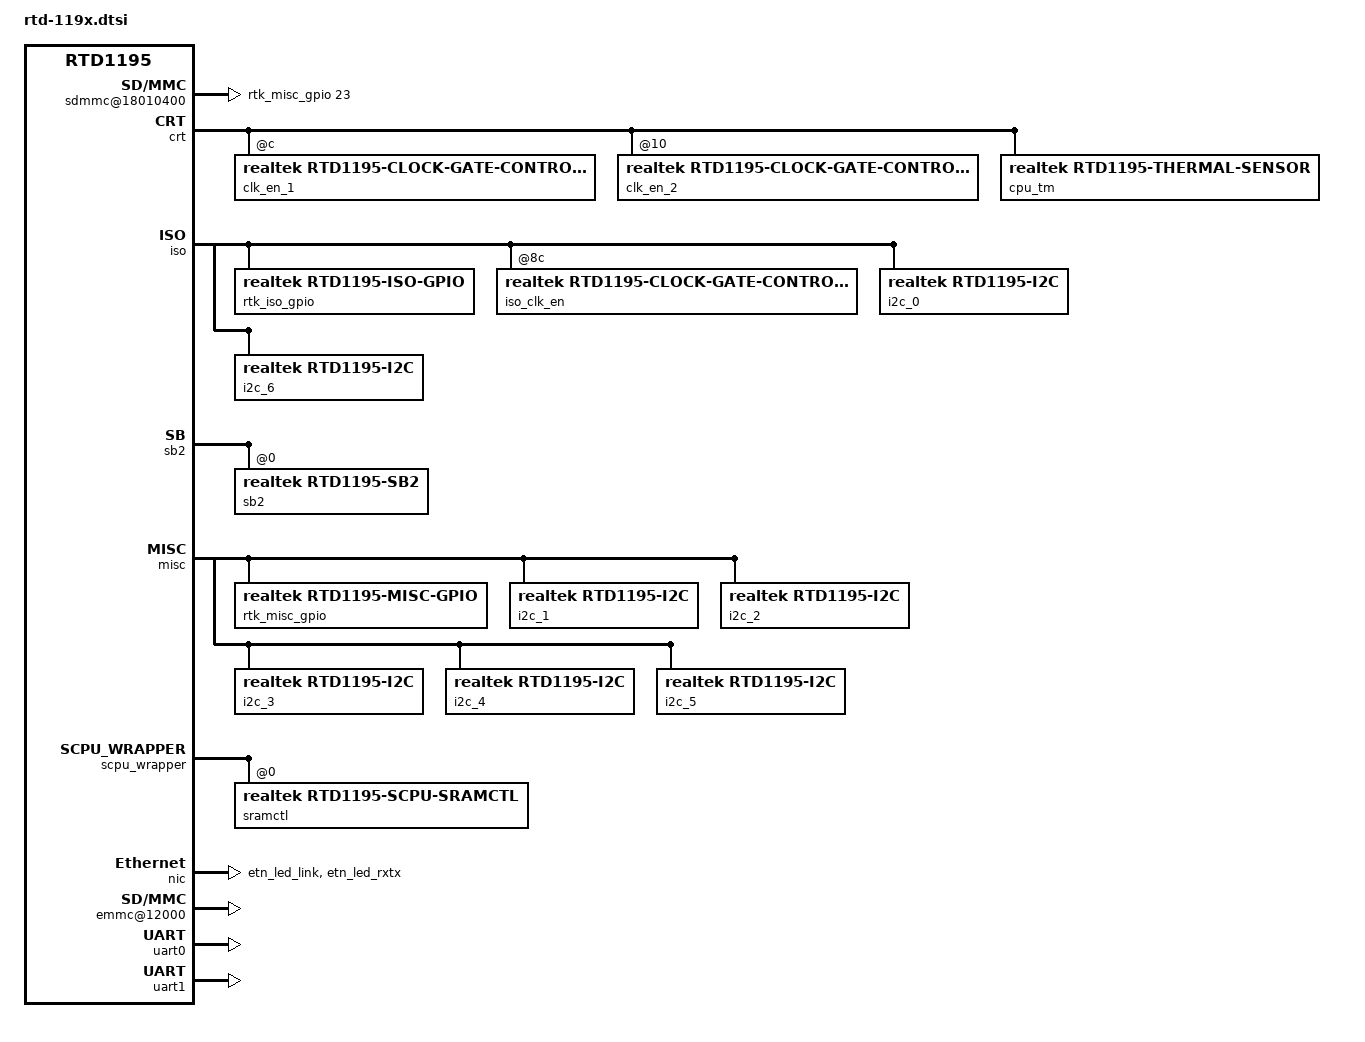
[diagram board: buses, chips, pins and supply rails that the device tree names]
#include <dt-bindings/interrupt-controller/arm-gic.h>
#include <dt-bindings/gpio/gpio.h>
#include <dt-bindings/clock/rtk,clock-rtd119x.h>
#include <dt-bindings/reset/realtek,rtd1195.h>

#include "../rtd1195.dtsi"

/ {
	/*
	 * UART1's baud reference. The clock controller does not model where
	 * this comes from, but the rate is not guesswork: the front-panel PIC
	 * runs at 19200 baud, the port programs a divisor of 1406, and
	 * 19200 * 16 * 1406 is 432MHz. A 27MHz reference would put the line
	 * at 1200 baud and the PIC would not answer at all.
	 */
	uart1_clk: uart1-clk {
		compatible = "fixed-clock";
		#clock-cells = <0>;
		clock-frequency = <432000000>;
		clock-output-names = "uart1_clk";
	};

	/*
	 * Still outside syscon@0: this claims the whole block from
	 * offset 0, where the reset controller already sits, so it needs
	 * converting to a syscon phandle and regmap before it can move.
	 */
	pinctrl_crt: pinctrl@18000000 {
		compatible = "realtek,rtd1195-crt-pinctrl";
		reg = <0x18000000 0x500>;

		pinctrl-names = "default";
		pinctrl-0 = <&i2c_pins_1>, <&i2c_pins_3>, <&i2c_pins_5>, <&mmc_pins>;

		emmc_pins: emmc-pins {
			pins = "nf_dd_0",
				"nf_dd_1",
				"nf_dd_2",
				"nf_dd_3",
				"nf_dd_4",
				"nf_dd_5",
				"nf_dd_6",
				"nf_dd_7",
				"nf_rdy",
				"nf_rd_n",
				"nf_cle";
			function = "emmc";
			bias-disable;
		};
		i2c_pins_1: i2c-1-pins {
			pins = "i2c_scl_1",
				"i2c_sda_1";
			function = "i2c1";
			bias-disable;
		};
		i2c_pins_2_crt: i2c-2-crt-pins {
			pins = "tp1_clk",
				"tp1_sync";
			function = "i2c2";
			bias-disable;
		};
		i2c_pins_3: i2c-3-pins {
			pins = "tp1_data",
				"tp1_valid";
			function = "i2c3";
			bias-disable;
		};
		i2c_pins_4: i2c-4-pins {
			pins = "i2c_scl_4",
				"i2c_sda_4";
			function = "i2c4";
			bias-disable;
		};
		i2c_pins_5: i2c-5-pins {
			pins = "i2c_scl_5",
				"i2c_sda_5";
			function = "i2c5";
			bias-disable;
		};
		mmc_pins: mmc-pins {
			pins = "mmc_data_0",
				"mmc_data_1",
				"mmc_data_2",
				"mmc_data_3",
				"mmc_clk",
				"mmc_cmd",
				"mmc_wp",
				"mmc_cd";
			function = "mmc";
			bias-disable;
		};
		sdio_pins: sdio-pins {
			pins = "sdio_clk",
				"sdio_data_0",
				"sdio_data_1",
				"sdio_data_2",
				"sdio_data_3",
				"sdio_cmd";
			function = "sdio";
			bias-disable;
		};
		uart1_pins_loc_misc_crt: uart1-loc-misc-crt-pins {
			pins = "gpio_0",
				"gpio_1",
				"gpio_2",
				"gpio_3",
				"sf_en";
			function = "uart1_loc_misc";
		};
		usb_pins: usb-pins {
			pins = "usb_id";
			function = "usb";
			bias-disable;
		};
	};

	/*
	 * Still outside syscon@0: this claims the whole block from
	 * offset 0, where the reset controller already sits, so it needs
	 * converting to a syscon phandle and regmap before it can move.
	 */
	cc: clock-controller@18000000 {
		compatible = "realtek,rtd1195-clock-controller";
		reg = <0x18000000 0x1000>;
		#clock-cells = <1>;

		/*
		 * The boot loader leaves the CPU PLL at 800 MHz. The stock
		 * firmware runs this part at 1100 MHz on the same default
		 * core voltage, but the PLL table has no 1100 MHz entry, so
		 * take the next one below it rather than the 1160 and 1200
		 * entries above what the vendor ships.
		 */
		assigned-clocks = <&cc CC_PLL_SCPU>;
		assigned-clock-rates = <1000000000>;
	};

	/*
	 * The unit address does not match reg[0], which is the CRT block, not
	 * this controller. Putting its own register first would fix that, but
	 * the driver indexes these by position and a single A/B showed SD init
	 * retrying afterwards. SD init is flaky enough that one run each
	 * proves nothing, so leave it until it can be measured properly.
	 */
	sdmmc@18010400 {
		compatible = "realtek,rtd1195-sdmmc";
		gpios = <&rtk_misc_gpio 23 GPIO_ACTIVE_HIGH>;
		reg = <0x18010400 0x200>,	/* the controller itself */
		      <0x18000000 0x400>,	/* CRT: PLL and pad control */
		      <0x1801a000 0x80>,	/* BS2 */
		      <0x18012000 0x10>;	/* eMMC, shared */
		reg-names = "sdmmc", "crt", "bs2", "emmc";
		interrupts = <GIC_SPI 44 IRQ_TYPE_LEVEL_HIGH>;
		clocks = <&clk_en_1 CLK_EN_CR>, <&clk_en_1 CLK_EN_SD_IP>;
		clock-names = "clk_en_cr", "clk_en_sd_ip";
		resets = <&reset2 RTD1195_RSTN_CR>;
	};

	thermal-zones {
		cpu_thermal: cpu-thermal {
			polling-delay-passive = <250>;
			polling-delay = <1000>;
			thermal-sensors = <&cpu_tm>;
			trips {
				cpu_crit: cpu-crit {
					temperature = <130000>;
					hysteresis = <0>;
					type = "critical";
				};
			};
			cooling-maps {};
		};
	};

	/*
	 * Mainline's rtd1195.dtsi describes this SoC as a bus with a syscon
	 * per register block, children addressed relative to their block.
	 * Nodes are being moved in here one subsystem at a time; what is left
	 * at the root above is still flat with absolute addresses.
	 */
	/*
	 * Not inside a syscon: this gathers interrupts from two different
	 * register blocks, MISC_TOP and MISC_ISO, so its second reg entry
	 * cannot be expressed relative to either one. Converting the driver
	 * to take two syscon phandles and a regmap would let it move.
	 */
	mux_intc: interrupt-controller@1801b000 {
		compatible = "realtek,rtd1195-irq-mux";
		/* MISC_TOP, MISC_ISO */
		reg = <0x1801b000 0x100>, <0x18007000 0x100>;
		reg-names = "misc", "iso";
		interrupts = <GIC_SPI 40 IRQ_TYPE_LEVEL_HIGH>, <GIC_SPI 41 IRQ_TYPE_LEVEL_HIGH>;
		interrupt-controller;
		#interrupt-cells = <2>;
	};

};

&crt {
	clk_en_1: clk-en@c {
		compatible = "realtek,rtd1195-clock-gate-controller";
		reg = <0xc 0x4>;
		#clock-cells = <1>;
		clock-output-names =
			"",           "hdmirx",     "",           "gspi",
			"usb",        "",           "",           "",
			"hdmi",       "etn",        "aio",        "gpu",
			"ve_h264",    "jpeg",       "",           "",
			"",           "se",         "",           "cp",
			"md",         "tp",         "",           "nf",
			"emmc",       "cr",         "sdio_ip",    "mipi",
			"emmic_ip",   "ve_h265",    "sdio",       "sd_ip";
	};
	clk_en_2: clk-en@10 {
		compatible = "realtek,rtd1195-clock-gate-controller";
		reg = <0x10 0x4>;
		#clock-cells = <1>;
		clock-output-names =
			"",           "misc_i2c_5", "",           "",
			"vpu",        "",           "",           "",
			"",           "",           "misc_rtc",   "",
			"",           "misc_i2c_4", "misc_i2c_3", "misc_i2c_2",
			"misc_i2c_1", "audio_da",   "audio_mod",  "audio_codec",
			"",           "spdif",      "i2s_in",     "i2s_out",
			"",           "",           "",           "",
			"ur1",        "",           "",           "";
	};
	cpu_tm: thermal-sensor@310 {
		compatible = "realtek,rtd1195-thermal-sensor";
		reg = <0x310 0x4>, <0x314 0x4>;
		#thermal-sensor-cells = <0>;
		status = "okay";
		nvmem-cells = <&tcal0>, <&tcal1>;
		nvmem-cell-names = "calibration0", "calibration1";
	};
};

&iso {
	pinctrl_iso: pinctrl@0 {
		compatible = "realtek,rtd1195-iso-pinctrl";
		reg = <0x0 0x400>;

		pinctrl-names = "default";
		pinctrl-0 = <&ir_rx_pins>, <&ir_tx_pins>, <&i2c_pins_0>,
			<&i2c_pins_6>, <&uart1_pins_loc_iso>,
			<&uart1_flow_pins>, <&uart1_loc_pins>, <&vfd_pins>;

		i2c_pins_0: i2c-0-pins {
			pins = "i2c_scl_0",
				"i2c_sda_0";
			function = "i2c0";
			bias-disable;
		};
		i2c_pins_2_iso: i2c-2-iso-pins {
			pins = "vfd_d";
			function = "i2c2";
			bias-disable;
		};
		i2c_pins_6: i2c-6-pins {
			pins = "i2c_scl_6",
				"i2c_sda_6";
			function = "i2c6";
			bias-disable;
		};
		uart1_pins_loc_iso: uart1-loc-iso-pins {
			pins = "ur1_rx",
				"ur1_tx";
			function = "uart1_loc_iso";
			bias-pull-up;
		};
		uart1_flow_pins: uart1-flow-pins {
			pins = "ur1_cts_n",
				"ur1_rts_n";
			function = "uart1_loc_iso";
			bias-pull-down;
		};
		uart1_loc_pins: uart1-loc-pins {
			pins = "ur1_loc";
			function = "uart1_loc_iso";
		};
		uart0_pins: uart0-pins {
			pins = "ur0_rx",
				"ur0_tx";
			function = "uart0";
			bias-disable;
		};
		vfd_pins: vfd-pins {
			pins = "vfd_cs_n",
				"vfd_clk",
				"vfd_d";
			function = "vfd";
			bias-disable;
		};
		ir_rx_pins: ir-rx-pins {
			pins = "ir_rx";
			function = "irrx";
			bias-disable;
		};
		ir_tx_pins: ir-tx-pins {
			pins = "ir_tx";
			function = "irtx";
			bias-disable;
		};
		etn_led_pins: etn-led-pins {
			pins = "etn_led_link",
				"etn_led_rxtx";
			function = "etn_led";
			bias-disable;
		};
	};
		rtk_iso_gpio: rtk_iso_gpio@100 {
			compatible = "realtek,rtd1195-iso-gpio";
			gpio-controller;
			#gpio-cells = <2>;
			interrupt-parent = <&mux_intc>;
			#interrupt-cells = <1>;
			interrupt-controller;
			interrupts = <1 19>, <1 20>;						/*GPIOA_INT   GPIODA_INT*/
			/* ISO_GPIO, then the two ISR words the driver uses at 0x8 and 0xc */
			reg = <0x100 0x100>, <0x0 0x10>;
			gpio-ranges = <&pinctrl_iso 0 0 21>;
		};
	iso_clk_en: clk-en@8c {
		compatible = "realtek,rtd1195-clock-gate-controller";
		reg = <0x8c 0x4>;
		#clock-cells = <1>;
		clock-output-names =
			"",           "",           "cec0",       "cbusrx_sys",
			"cbustx_sys", "cbus_sys",   "cbus_osc",   "misc_ir",
			"misc_ur0",   "i2c0",       "i2c6",       "etn_250m",
			"etn_sys";
	};
	i2c_0: i2c@d00 {
		compatible = "realtek,rtd1195-i2c", "snps,designware-i2c";
		reg = <0xd00 0x100>;
		interrupt-parent = <&mux_intc>;
		interrupts = <1 8>;
		#address-cells = <1>;
		#size-cells = <0>;
		clocks = <&iso_clk_en CLK_EN_I2C0>;
		resets = <&iso_reset RTD1195_ISO_RSTN_I2C_0>;
	};
	i2c_6: i2c@e00 {
		compatible = "realtek,rtd1195-i2c", "snps,designware-i2c";
		reg = <0xe00 0x100>;
		interrupt-parent = <&mux_intc>;
		interrupts = <1 10>;
		#address-cells = <1>;
		#size-cells = <0>;
		clocks = <&iso_clk_en CLK_EN_I2C6>;
		resets = <&iso_reset RTD1195_ISO_RSTN_I2C_6>;
	};
};

&sb2 {
	sb2@0 {
		compatible = "realtek,rtd1195-sb2";
		reg = <0x0 0x900>;
		interrupts = <GIC_SPI 36 IRQ_TYPE_LEVEL_HIGH>;
	};
};

&misc {
	rtk_misc_gpio: rtk_misc_gpio@100 {
		compatible = "realtek,rtd1195-misc-gpio";
		gpio-controller;
		#gpio-cells = <2>;
		interrupt-parent = <&mux_intc>;
		#interrupt-cells = <1>;
		interrupt-controller;
		/* GPIOA_INT, GPIODA_INT */
		interrupts = <0 19>, <0 20>;
		/* MISC_GPIO, MISC_SYS (ISR) */
		reg = <0x100 0x100>, <0x0 0x100>;
		gpio-ranges = <&pinctrl_crt 0 0 60>;
	};
	i2c_1: i2c@300 {
		compatible = "realtek,rtd1195-i2c", "snps,designware-i2c";
		reg = <0x300 0x100>;
		interrupt-parent = <&mux_intc>;
		interrupts = <0 4>;
		#address-cells = <1>;
		#size-cells = <0>;
		clocks = <&clk_en_2 CLK_EN_MISC_I2C_1>;
		resets = <&reset2 RTD1195_RSTN_I2C_1>;
	};
	i2c_2: i2c@700 {
		compatible = "realtek,rtd1195-i2c", "snps,designware-i2c";
		#address-cells = <1>;
		#size-cells = <0>;
		reg = <0x700 0x100>;
		interrupt-parent = <&mux_intc>;
		interrupts = <0 26>;
		clocks = <&clk_en_2 CLK_EN_MISC_I2C_2>;
		resets = <&reset2 RTD1195_RSTN_I2C_2>;
	};
	i2c_3: i2c@900 {
		compatible = "realtek,rtd1195-i2c", "snps,designware-i2c";
		reg = <0x900 0x100>;
		interrupt-parent = <&mux_intc>;
		interrupts = <0 23>;
		#address-cells = <1>;
		#size-cells = <0>;
		clocks = <&clk_en_2 CLK_EN_MISC_I2C_3>;
		resets = <&reset2 RTD1195_RSTN_I2C_3>;
	};
	i2c_4: i2c@a00 {
		compatible = "realtek,rtd1195-i2c", "snps,designware-i2c";
		reg = <0xa00 0x100>;
		interrupt-parent = <&mux_intc>;
		interrupts = <0 15>;
		#address-cells = <1>;
		#size-cells = <0>;
		clocks = <&clk_en_2 CLK_EN_MISC_I2C_4>;
		resets = <&reset2 RTD1195_RSTN_I2C_4>;
	};
	i2c_5: i2c@b00 {
		compatible = "realtek,rtd1195-i2c", "snps,designware-i2c";
		reg = <0xb00 0x100>;
		interrupt-parent = <&mux_intc>;
		interrupts = <0 14>;
		#address-cells = <1>;
		#size-cells = <0>;
		clocks = <&clk_en_2 CLK_EN_MISC_I2C_5>;
		resets = <&reset2 RTD1195_RSTN_I2C_5>;
	};
	timer@0 {
		compatible = "realtek,rtd1195-timer";
		reg = <0x0 0x600>;
		/* one per channel: CPU0 first, CPU1 second */
		interrupts = <GIC_SPI 17 IRQ_TYPE_LEVEL_HIGH>, <GIC_SPI 18 IRQ_TYPE_LEVEL_HIGH>;
		clocks = <&osc27M>;
	};
};

&scpu_wrapper {
	sramctl@0 {
		compatible = "realtek,rtd1195-scpu-sramctl";
		reg = <0x0 0x4>;
	};
};

&rbus {
	nic: gmac@16000 {
		compatible = "realtek,rtd1195-gmac";
		reg = <0x16000 0x1000>;
		interrupts = <GIC_SPI 22 IRQ_TYPE_LEVEL_HIGH>;
		pinctrl-names = "default";
		pinctrl-0 = <&etn_led_pins>;
		rtl-config = <1>;
		mac-version = <42>;		/* RTL_GIGA_MAC_VER_42 */
		rtl-features = <2>;		/* BIT(2) GMii */
		led-cfg = <0x70CA>;
		status = "okay";
		clocks = <&clk_en_1 CLK_EN_ETN>,
			<&iso_clk_en CLK_EN_ETN_250M>,
			<&iso_clk_en CLK_EN_ETN_SYS>;
		clock-names = "etn", "etn_250m", "etn_sys";
		resets = <&reset1 RTD1195_RSTN_ETN>;
		reset-names = "rst_etn";
	};
	emmc@12000 {
		compatible = "realtek,rtd1195-emmc";
		/* EMMC, CRT, CRSD, BS2, SDIO */
		reg = <0x12000 0x400>, <0x0 0x400>,
		      <0x10400 0x200>, <0x1a000 0x80>,
		      <0x10c00 0x40>;
		interrupts = <GIC_SPI 42 IRQ_TYPE_LEVEL_HIGH>;
		speed-step = <0>;	/* 0: sdr50, 1: ddr50, 2: hs200 */
		clocks = <&clk_en_1 CLK_EN_EMMC>, <&clk_en_1 CLK_EN_EMMC_IP>,
			 <&clk_en_1 CLK_EN_CR>;
		clock-names = "emmc", "emmc_ip", "cr";
		resets = <&reset2 RTD1195_RSTN_EMMC>;
	};
	crypto@15000 {
		compatible = "realtek,rtd1195-mcp";
		reg = <0x15000 0x1000>;
		interrupts = <GIC_SPI 2 IRQ_TYPE_LEVEL_HIGH>;
		clocks = <&clk_en_1 CLK_EN_CP>;
		resets = <&reset1 RTD1195_RSTN_CP>;
	};
	efuse@17000 {
		compatible = "realtek,rtd1195-efuse";
		reg = <0x17000 0x400>;
		read-only;
		#address-cells = <1>;
		#size-cells = <1>;

		/* Do not put nvmem-cells on the provider itself — that creates a
		 * dependency cycle and prevents cell registration.
		 */
		tcal1: thermal-calibration@-17ffffff {
			reg = <0x1CA 0x2>;
			bits = <2 7>;
		};
		tcal0: thermal-calibration@-18000000 {
			reg = <0x1CB 0x1>;
			bits = <1 7>;
		};
	};
gpu: gpu@3000 {
	compatible = "arm,mali-400", "arm,mali-utgard";
	reg = <0x3000 0x1000>;
	clocks = <&cc CC_CLK_GPU>;
	clock-names = "clk_mali";
	resets = <&reset1 RTD1195_RSTN_GPU>;
	interrupts =
		<GIC_SPI 24 IRQ_TYPE_LEVEL_HIGH>, <GIC_SPI 25 IRQ_TYPE_LEVEL_HIGH>,
		<GIC_SPI 26 IRQ_TYPE_LEVEL_HIGH>, <GIC_SPI 27 IRQ_TYPE_LEVEL_HIGH>,
		<GIC_SPI 28 IRQ_TYPE_LEVEL_HIGH>, <GIC_SPI 29 IRQ_TYPE_LEVEL_HIGH>;
	interrupt-names =
		"IRQGP", "IRQGPMMU",
		"IRQPP0", "IRQPPMMU0",
		"IRQPP1", "IRQPPMMU1";
	status = "okay";
};
};

&uart0 {
	/delete-property/ clock-frequency;
		compatible = "realtek,rtd1195-uart", "snps,dw-apb-uart";
		interrupt-parent = <&mux_intc>;
		reg = <0x800 0x400>, <0x0 0x100>;
		interrupts-st-mask = <0x4>;
		interrupts = <1 2>;
		reg-shift = <2>;
		reg-io-width = <4>;
		/*
		 * baudclk is the 27MHz crystal; apb_pclk is the gate that
		 * feeds it to the UART. Naming both lets 8250_dw take the
		 * rate from the crystal and still claim the gate, so the
		 * gate is not treated as an unused clock and switched off.
		 */
		clocks = <&osc27M>, <&iso_clk_en CLK_EN_MISC_UR0>;
		clock-names = "baudclk", "apb_pclk";
		resets = <&iso_reset RTD1195_ISO_RSTN_UR0>;
	status = "okay";
};

&uart1 {
	/delete-property/ clock-frequency;
		compatible = "realtek,rtd1195-uart", "snps,dw-apb-uart";
		interrupt-parent = <&mux_intc>;
		reg = <0x200 0x100>, <0xc 0x100>;
		interrupts-st-mask = <0x8>;
		interrupts = <0 3>, <0 5>;	/*UR1_INT and UR1_TO_INT*/
		reg-shift = <2>;
		reg-io-width = <4>;
		clocks = <&uart1_clk>, <&clk_en_2 CLK_EN_UR1>;
		clock-names = "baudclk", "apb_pclk";
		resets = <&reset2 RTD1195_RSTN_UR1>;
	status = "okay";
};

&cpu0 {
	clocks = <&cc CC_PLL_SCPU>;
};

&cpu1 {
	clocks = <&cc CC_PLL_SCPU>;
};
